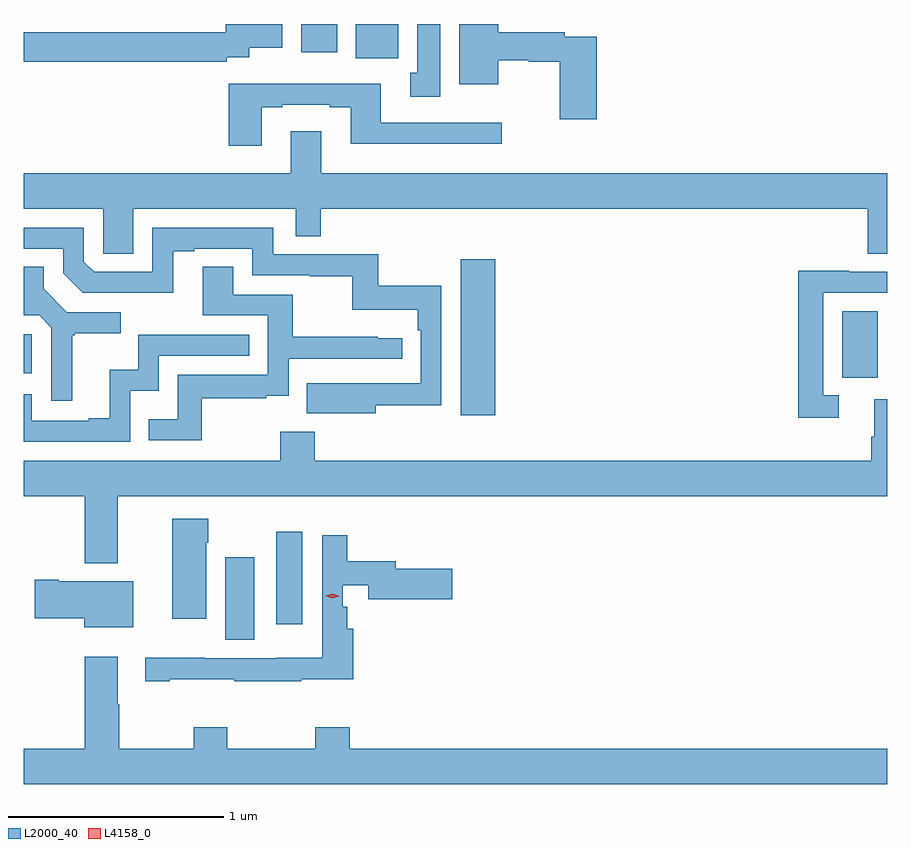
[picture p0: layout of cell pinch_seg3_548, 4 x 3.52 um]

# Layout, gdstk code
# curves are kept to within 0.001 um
import gdstk
lib = gdstk.Library(unit=1e-6, precision=1e-09)
def R(c, l, rs):  # rectangles x0, y0, x1, y1
    for r in rs: c.add(gdstk.rectangle(r[:2], r[2:], *l))
def P(c, l, *ps):  # polygons
    for p in ps: c.add(gdstk.Polygon(p, *l))
L2000_40 = (2000, 40)
L4158_0 = (4158, 0)

pinch_seg3_548 = lib.new_cell('pinch_seg3_548')
R(pinch_seg3_548, L2000_40, [(1102.412,698.92,1102.546,699.301), (1102.646,698.991,1102.768,699.421), (1103.501,699.96,1103.662,700.681), (1105.268,700.134,1105.432,700.441), (1101.477,700.155,1101.516,700.335), (1103.015,701.612,1103.212,701.771), (1102.763,701.64,1102.93,701.771)])
P(pinch_seg3_548, L2000_40, [(1104.131,701.712),(1103.984,701.712),(1103.984,701.732),(1103.674,701.732),(1103.674,701.771),(1103.495,701.771),(1103.495,701.492),(1103.674,701.492),(1103.674,701.604),(1103.817,701.604),(1103.817,701.596),(1103.96,701.596),(1103.96,701.331),(1104.131,701.331)],
  [(1103.407,701.771),(1103.3,701.771),(1103.3,701.546),(1103.267,701.546),(1103.267,701.433),(1103.407,701.433)],
  [(1102.418,701.616),(1102.521,701.616),(1102.521,701.66),(1102.675,701.66),(1102.675,701.771),(1102.413,701.771),(1102.413,701.732),(1101.477,701.732),(1101.477,701.596),(1102.418,701.596)],
  [(1102.579,701.385),(1102.675,701.385),(1102.675,701.397),(1102.895,701.397),(1102.895,701.385),(1102.991,701.385),(1102.991,701.216),(1103.692,701.216),(1103.692,701.313),(1103.131,701.313),(1103.131,701.494),(1102.427,701.494),(1102.427,701.208),(1102.579,701.208)],
  [(1101.985,700.916),(1102.737,700.916),(1102.737,700.789),(1102.853,700.789),(1102.853,700.916),(1105.385,700.916),(1105.385,700.708),(1105.477,700.708),(1105.477,701.08),(1102.855,701.08),(1102.855,701.275),(1102.715,701.275),(1102.715,701.08),(1101.477,701.08),(1101.477,700.916),(1101.846,700.916),(1101.846,700.708),(1101.985,700.708)],
  [(1103.107,700.006),(1103.412,700.006),(1103.412,700.558),(1103.119,700.558),(1103.119,700.704),(1102.632,700.704),(1102.632,700.827),(1102.074,700.827),(1102.074,700.623),(1101.804,700.623),(1101.756,700.671),(1101.756,700.827),(1101.477,700.827),(1101.477,700.731),(1101.66,700.731),(1101.66,700.617),(1101.75,700.527),(1102.171,700.526),(1102.171,700.719),(1102.267,700.719),(1102.267,700.731),(1102.536,700.731),(1102.536,700.608),(1102.801,700.608),(1102.801,700.603),(1102.998,700.603),(1102.998,700.448),(1103.303,700.448),(1103.303,700.352),(1103.316,700.352),(1103.316,700.107),(1102.789,700.108),(1102.789,699.968),(1103.107,699.968)],
  [(1101.703,700.329),(1101.715,700.329),(1101.715,700.34),(1101.928,700.34),(1101.928,700.437),(1101.678,700.437),(1101.571,700.544),(1101.571,700.646),(1101.477,700.646),(1101.477,700.422),(1101.549,700.422),(1101.606,700.365),(1101.606,700.026),(1101.703,700.026)],
  [(1102.303,700.038),(1102.601,700.038),(1102.601,700.049),(1102.704,700.049),(1102.704,700.221),(1103.23,700.221),(1103.23,700.317),(1103.117,700.317),(1103.117,700.322),(1102.724,700.322),(1102.724,700.518),(1102.447,700.518),(1102.447,700.646),(1102.307,700.646),(1102.307,700.422),(1102.608,700.422),(1102.608,700.146),(1102.192,700.146),(1102.192,699.94),(1102.057,699.94),(1102.057,699.843),(1102.303,699.843)],
  [(1105.252,700.053),(1105.179,700.053),(1105.179,700.527),(1105.477,700.527),(1105.477,700.623),(1105.301,700.623),(1105.301,700.628),(1105.063,700.628),(1105.063,699.948),(1105.252,699.948)],
  [(1101.972,700.073),(1102.104,700.073),(1102.104,700.236),(1102.523,700.236),(1102.523,700.332),(1102.008,700.332),(1102.008,700.171),(1101.875,700.171),(1101.875,699.946),(1101.779,699.946),(1101.779,699.933),(1101.516,699.933),(1101.516,700.056),(1101.477,700.056),(1101.477,699.837),(1101.972,699.837)],
  [(1101.913,699.584),(1105.477,699.584),(1105.477,700.034),(1105.415,700.034),(1105.415,699.86),(1105.403,699.86),(1105.403,699.748),(1102.826,699.748),(1102.826,699.883),(1102.666,699.883),(1102.666,699.748),(1101.477,699.748),(1101.477,699.584),(1101.761,699.584),(1101.761,699.275),(1101.913,699.275)],
  [(1102.324,699.368),(1102.332,699.368),(1102.332,699.481),(1102.166,699.481),(1102.166,699.018),(1102.324,699.018)],
  [(1102.153,698.737),(1102.453,698.737),(1102.453,698.727),(1102.763,698.727),(1102.763,698.737),(1103.003,698.737),(1103.003,698.971),(1102.976,698.971),(1102.976,699.072),(1102.956,699.072),(1102.956,699.173),(1103.072,699.173),(1103.072,699.107),(1103.461,699.107),(1103.461,699.249),(1103.2,699.249),(1103.2,699.283),(1102.976,699.283),(1102.976,699.403),(1102.86,699.403),(1102.86,698.836),(1102.65,698.836),(1102.65,698.835),(1102.316,698.835),(1102.316,698.837),(1102.041,698.837),(1102.041,698.727),(1102.153,698.727)],
  [(1101.985,699.19),(1101.64,699.19),(1101.64,699.198),(1101.528,699.198),(1101.528,699.02),(1101.758,699.02),(1101.758,698.978),(1101.985,698.978)],
  [(1105.477,698.416),(1102.988,698.416),(1102.988,698.515),(1102.828,698.515),(1102.828,698.416),(1102.419,698.416),(1102.419,698.515),(1102.264,698.515),(1102.264,698.416),(1101.921,698.416),(1101.921,698.621),(1101.913,698.621),(1101.913,698.842),(1101.761,698.842),(1101.761,698.416),(1101.477,698.416),(1101.477,698.252),(1105.477,698.252)])
P(pinch_seg3_548, L4158_0, [(1102.907,699.113),(1102.873,699.124),(1102.873,699.124),(1102.873,699.124),(1102.908,699.132),(1102.942,699.122),(1102.942,699.121),(1102.942,699.121)])

lib.write_gds('pinch_seg3_548.gds')
